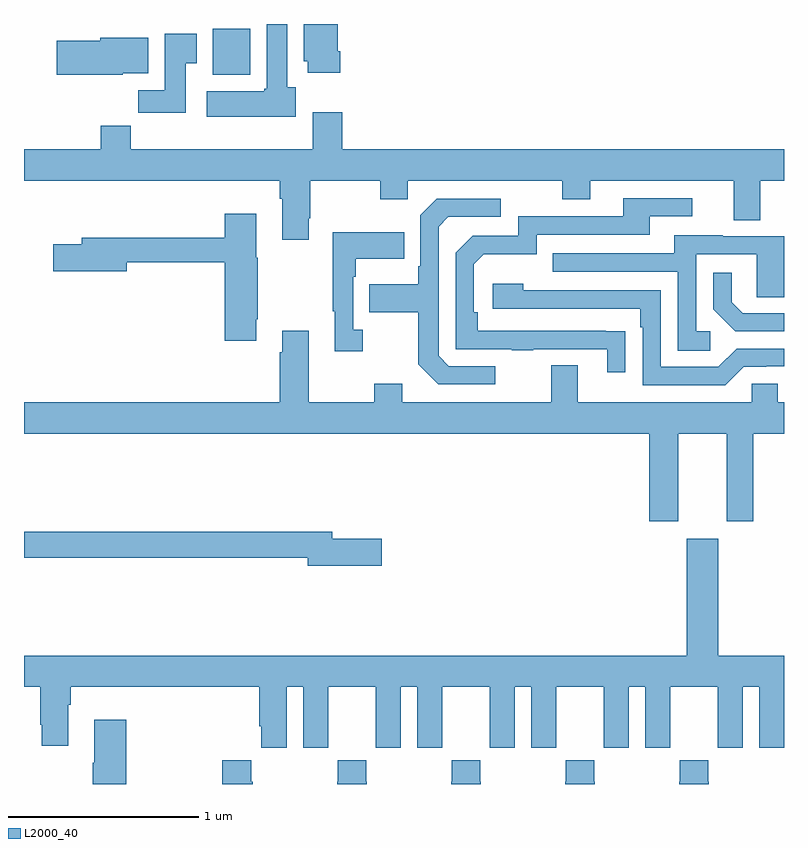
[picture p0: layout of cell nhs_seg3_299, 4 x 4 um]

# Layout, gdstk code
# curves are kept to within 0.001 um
import gdstk
lib = gdstk.Library(unit=1e-6, precision=1e-09)
def R(c, l, rs):  # rectangles x0, y0, x1, y1
    for r in rs: c.add(gdstk.rectangle(r[:2], r[2:], *l))
def P(c, l, *ps):  # polygons
    for p in ps: c.add(gdstk.Polygon(p, *l))
L2000_40 = (2000, 40)

nhs_seg3_299 = lib.new_cell('nhs_seg3_299')
R(nhs_seg3_299, L2000_40, [(125.993,708.134,126.19,708.376)])
P(nhs_seg3_299, L2000_40, [(126.43,708.066),(126.385,708.066),(126.385,708.4),(126.278,708.4),(126.278,708.06),(126.265,708.06),(126.265,708.046),(125.961,708.046),(125.961,707.912),(126.43,707.912)],
  [(126.665,708.256),(126.652,708.256),(126.652,708.4),(126.473,708.4),(126.473,708.204),(126.494,708.204),(126.494,708.144),(126.665,708.144)],
  [(125.851,708.193),(125.908,708.193),(125.908,708.349),(125.741,708.349),(125.741,708.052),(125.602,708.052),(125.602,707.934),(125.851,707.934)],
  [(125.52,708.14),(125.653,708.14),(125.653,708.328),(125.402,708.328),(125.402,708.311),(125.172,708.311),(125.172,708.134),(125.52,708.134)],
  [(126.499,707.377),(126.507,707.377),(126.507,707.576),(126.874,707.576),(126.874,707.477),(127.02,707.477),(127.02,707.576),(127.834,707.576),(127.834,707.477),(127.981,707.477),(127.981,707.576),(128.735,707.576),(128.735,707.368),(128.875,707.368),(128.875,707.576),(129,707.576),(129,707.74),(126.674,707.74),(126.674,707.935),(126.521,707.935),(126.521,707.74),(125.561,707.74),(125.561,707.864),(125.405,707.864),(125.405,707.74),(125,707.74),(125,707.576),(126.347,707.576),(126.347,707.48),(126.359,707.48),(126.359,707.265),(126.499,707.265)],
  [(128.165,706.784),(127.388,706.785),(127.388,706.882),(127.368,706.882),(127.368,707.136),(127.421,707.189),(127.698,707.189),(127.698,707.292),(128.293,707.292),(128.293,707.388),(128.518,707.388),(128.518,707.484),(128.153,707.484),(128.153,707.388),(127.602,707.388),(127.602,707.286),(127.362,707.286),(127.272,707.196),(127.272,706.689),(127.567,706.689),(127.567,706.684),(127.679,706.684),(127.679,706.689),(128.069,706.689),(128.069,706.566),(128.165,706.566)],
  [(127.48,706.599),(127.236,706.599),(127.182,706.653),(127.182,707.334),(127.233,707.385),(127.51,707.385),(127.51,707.481),(127.173,707.481),(127.086,707.394),(127.086,707.125),(127.074,707.125),(127.074,707.029),(126.817,707.029),(126.817,706.882),(127.074,706.882),(127.074,706.609),(127.179,706.503),(127.48,706.503)],
  [(126.223,706.846),(126.231,706.846),(126.231,707.169),(126.223,707.169),(126.223,707.401),(126.056,707.401),(126.056,707.275),(125.303,707.275),(125.303,707.241),(125.154,707.241),(125.154,707.099),(125.542,707.099),(125.542,707.146),(126.056,707.146),(126.056,706.734),(126.223,706.734)],
  [(126.784,706.79),(126.732,706.79),(126.732,707.069),(126.745,707.069),(126.745,707.165),(127.001,707.165),(127.001,707.305),(126.624,707.305),(126.624,706.889),(126.635,706.889),(126.635,706.677),(126.784,706.677)],
  [(128.611,706.782),(128.538,706.782),(128.538,707.187),(128.856,707.187),(128.856,706.963),(129,706.963),(129,707.283),(128.677,707.283),(128.677,707.287),(128.423,707.287),(128.423,707.193),(127.783,707.193),(127.783,707.097),(128.442,707.097),(128.442,706.681),(128.611,706.681)],
  [(129,706.878),(128.782,706.878),(128.725,706.935),(128.725,707.092),(128.628,707.092),(128.628,706.898),(128.744,706.782),(129,706.782)],
  [(128.787,706.596),(128.906,706.596),(128.906,706.599),(129,706.599),(129,706.692),(128.751,706.692),(128.655,706.596),(128.352,706.596),(128.352,706.998),(127.628,706.998),(127.628,707.032),(127.467,707.032),(127.467,706.902),(128.243,706.902),(128.243,706.805),(128.256,706.805),(128.256,706.5),(128.691,706.5)],
  [(128.443,706.244),(128.699,706.244),(128.699,705.783),(128.839,705.783),(128.839,706.244),(129,706.244),(129,706.408),(128.967,706.408),(128.967,706.506),(128.829,706.506),(128.829,706.408),(127.915,706.408),(127.915,706.603),(127.775,706.603),(127.775,706.408),(126.991,706.408),(126.991,706.507),(126.844,706.507),(126.844,706.408),(126.499,706.408),(126.499,706.786),(126.359,706.786),(126.359,706.673),(126.347,706.673),(126.347,706.408),(125,706.408),(125,706.244),(128.291,706.244),(128.291,705.783),(128.443,705.783)],
  [(126.883,705.692),(126.622,705.692),(126.622,705.728),(125,705.728),(125,705.592),(126.494,705.592),(126.494,705.55),(126.883,705.55)],
  [(126.382,704.912),(126.47,704.912),(126.47,704.592),(126.6,704.592),(126.6,704.704),(126.601,704.704),(126.601,704.912),(126.851,704.912),(126.851,704.704),(126.852,704.704),(126.852,704.592),(126.982,704.592),(126.982,704.912),(127.07,704.912),(127.07,704.592),(127.2,704.592),(127.2,704.704),(127.201,704.704),(127.201,704.912),(127.451,704.912),(127.451,704.704),(127.452,704.704),(127.452,704.592),(127.582,704.592),(127.582,704.912),(127.67,704.912),(127.67,704.592),(127.8,704.592),(127.8,704.704),(127.801,704.704),(127.801,704.912),(128.051,704.912),(128.051,704.704),(128.052,704.704),(128.052,704.592),(128.182,704.592),(128.182,704.912),(128.27,704.912),(128.27,704.592),(128.4,704.592),(128.4,704.704),(128.401,704.704),(128.401,704.912),(128.651,704.912),(128.651,704.704),(128.652,704.704),(128.652,704.592),(128.782,704.592),(128.782,704.912),(128.87,704.912),(128.87,704.592),(129,704.592),(129,705.076),(128.653,705.076),(128.653,705.691),(128.489,705.691),(128.489,705.076),(125,705.076),(125,704.912),(125.086,704.912),(125.086,704.713),(125.093,704.713),(125.093,704.601),(125.233,704.601),(125.233,704.816),(125.246,704.816),(125.246,704.912),(126.239,704.912),(126.239,704.704),(126.248,704.704),(126.248,704.592),(126.382,704.592)],
  [(125.537,704.737),(125.369,704.737),(125.369,704.513),(125.362,704.513),(125.362,704.4),(125.537,704.4)],
  [(127.404,704.411),(127.401,704.411),(127.401,704.524),(127.251,704.524),(127.251,704.411),(127.249,704.411),(127.249,704.4),(127.404,704.4)],
  [(126.804,704.411),(126.801,704.411),(126.801,704.524),(126.651,704.524),(126.651,704.411),(126.649,704.411),(126.649,704.4),(126.804,704.4)],
  [(126.204,704.411),(126.197,704.411),(126.197,704.524),(126.044,704.524),(126.044,704.4),(126.204,704.4)],
  [(128.604,704.411),(128.601,704.411),(128.601,704.524),(128.451,704.524),(128.451,704.411),(128.449,704.411),(128.449,704.4),(128.604,704.4)],
  [(128.004,704.411),(128.001,704.411),(128.001,704.524),(127.851,704.524),(127.851,704.411),(127.849,704.411),(127.849,704.4),(128.004,704.4)])

lib.write_gds('nhs_seg3_299.gds')
